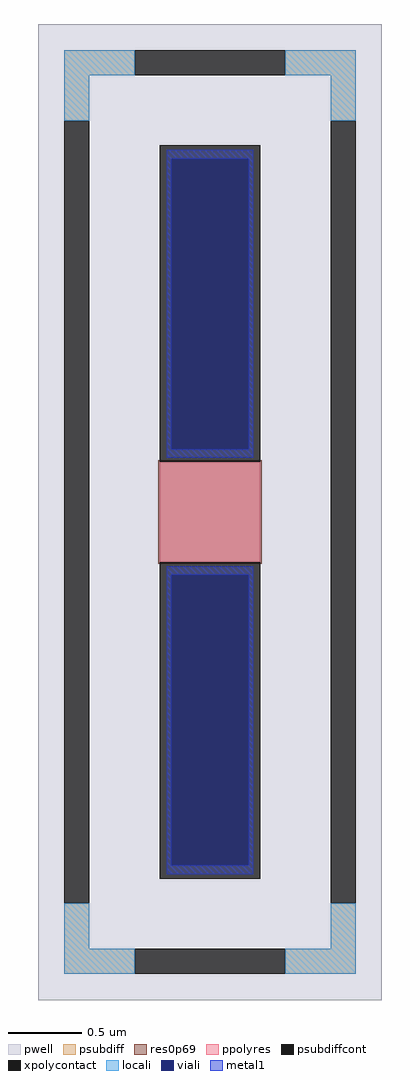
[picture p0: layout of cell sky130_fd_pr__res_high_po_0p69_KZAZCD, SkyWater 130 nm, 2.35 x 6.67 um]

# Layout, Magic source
magic
tech sky130A
magscale 1 2
<< pwell >>
rect -235 -667 235 667
<< psubdiff >>
rect -199 597 -103 631
rect 103 597 199 631
rect -199 535 -165 597
rect 165 535 199 597
rect -199 -597 -165 -535
rect 165 -597 199 -535
rect -199 -631 -103 -597
rect 103 -631 199 -597
<< psubdiffcont >>
rect -103 597 103 631
rect -199 -535 -165 535
rect 165 -535 199 535
rect -103 -631 103 -597
<< xpolycontact >>
rect -69 69 69 501
rect -69 -501 69 -69
<< ppolyres >>
rect -69 -69 69 69
<< locali >>
rect -199 597 -103 631
rect 103 597 199 631
rect -199 535 -165 597
rect 165 535 199 597
rect -199 -597 -165 -535
rect 165 -597 199 -535
rect -199 -631 -103 -597
rect 103 -631 199 -597
<< viali >>
rect -53 86 53 483
rect -53 -483 53 -86
<< metal1 >>
rect -59 483 59 495
rect -59 86 -53 483
rect 53 86 59 483
rect -59 74 59 86
rect -59 -86 59 -74
rect -59 -483 -53 -86
rect 53 -483 59 -86
rect -59 -495 59 -483
<< res0p69 >>
rect -71 -71 71 71
<< properties >>
string FIXED_BBOX -182 -614 182 614
string gencell sky130_fd_pr__res_high_po_0p69
string library sky130
string parameters w 0.690 l 0.69 m 1 nx 1 wmin 0.690 lmin 0.50 rho 319.8 val 375.417 dummy 0 dw 0.0 term 19.188 sterm 0.0 caplen 0 guard 1 glc 1 grc 1 gtc 1 gbc 1 compatible {sky130_fd_pr__res_high_po_0p35  sky130_fd_pr__res_high_po_0p69 sky130_fd_pr__res_high_po_1p41  sky130_fd_pr__res_high_po_2p85 sky130_fd_pr__res_high_po_5p73} full_metal 1 wmax 0.690 n_guard 0 hv_guard 0 vias 1 viagb 0 viagt 0 viagl 0 viagr 0
<< end >>
